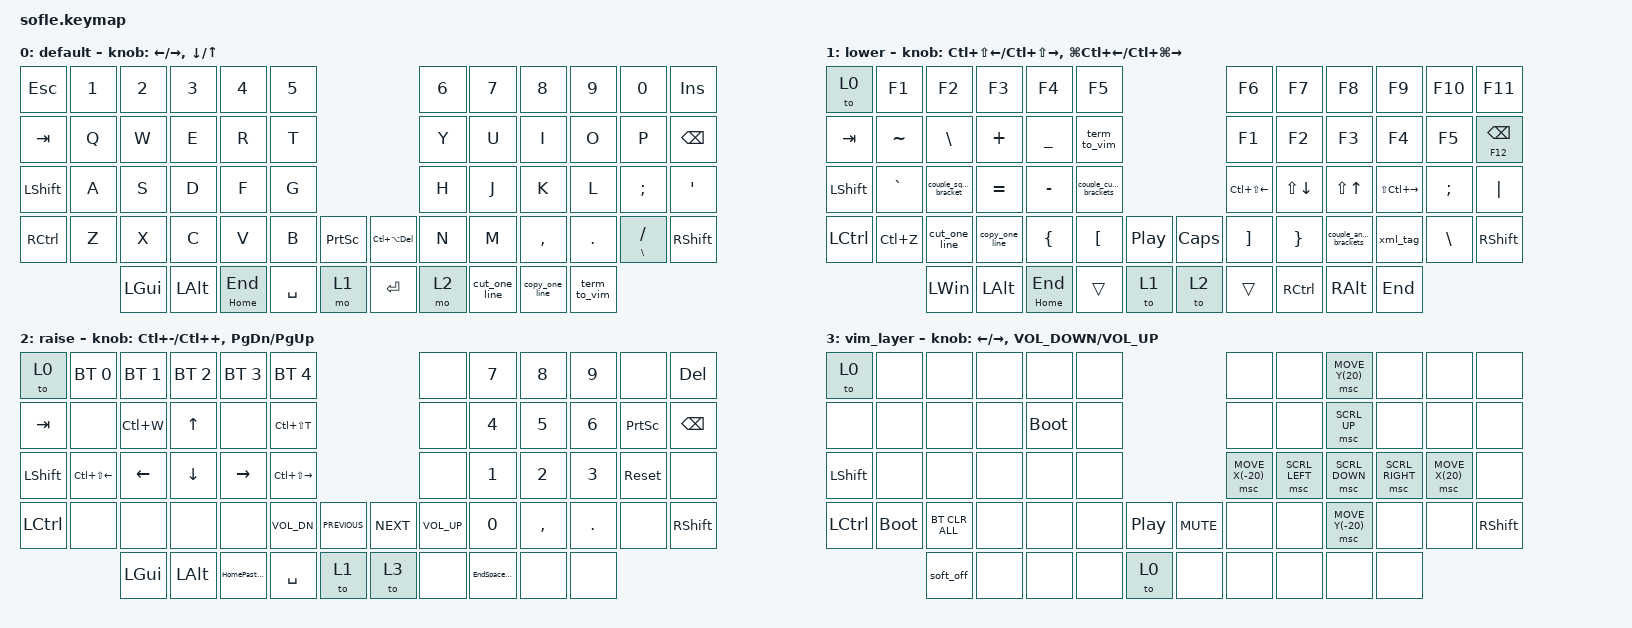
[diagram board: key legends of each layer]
/*
 * Copyright (c) 2020 The ZMK Contributors
 *
 * SPDX-License-Identifier: MIT
 */

#include <behaviors.dtsi>
#include <dt-bindings/zmk/bt.h>
#include <dt-bindings/zmk/keys.h>
#include <dt-bindings/zmk/pointing.h>

#define BASE 0
#define LOWER 1
#define RAISE 2
#define ADJUST 3

/ {
    // Activate ADJUST layer by pressing raise and lower

    conditional_layers { compatible = "zmk,conditional-layers"; };

    macros {
        copy_one_line: copy_one_line {
            compatible = "zmk,behavior-macro";
            #binding-cells = <0>;
            bindings = <&kp END &kp LS(HOME) &kp LC(C)>;
            label = "COPY_ONE_LINE";
        };

        term_to_vim: term_to_vim {
            compatible = "zmk,behavior-macro";
            #binding-cells = <0>;
            bindings = <&kp LC(BACKSLASH) &kp LC(N)>;
            label = "TERM_TO_VIM";
        };

        couple_square_bracket: couple_square_bracket {
            compatible = "zmk,behavior-macro";
            #binding-cells = <0>;
            bindings = <&kp LEFT_BRACKET &kp RIGHT_BRACKET &kp LEFT_ARROW>;
            label = "COUPLE_SQUARE_BRACKET";
        };

        couple_curly_brackets: couple_curly_brackets {
            compatible = "zmk,behavior-macro";
            #binding-cells = <0>;
            bindings = <&kp LEFT_BRACE &kp RIGHT_BRACE &kp LEFT_ARROW>;
            label = "COUPLE_CURLY_BRACKETS";
        };

        couple_parentheses: couple_parentheses {
            compatible = "zmk,behavior-macro";
            #binding-cells = <0>;
            bindings = <&kp LEFT_PARENTHESIS &kp RIGHT_PARENTHESIS &kp LEFT>;
            label = "COUPLE_PARENTHESES";
        };

        couple_angle_brackets: couple_angle_brackets {
            compatible = "zmk,behavior-macro";
            #binding-cells = <0>;
            bindings = <&macro_tap>, <&kp LESS_THAN &kp GREATER_THAN &kp LEFT>;

            label = "COUPLE_ANGLE_BRACKETS";
        };

        xml_tag: xml_tag {
            compatible = "zmk,behavior-macro";
            #binding-cells = <0>;
            bindings = <&kp LESS_THAN &kp GREATER_THAN &kp LESS_THAN &kp SLASH &kp GREATER_THAN &kp LEFT_ARROW &key_repeat &key_repeat>;
            label = "XML_TAG";
        };

        cut_one_line: cut_one_line {
            compatible = "zmk,behavior-macro";
            #binding-cells = <0>;
            bindings = <&kp END &kp LS(HOME) &kp LC(X)>;
            label = "CUT_ONE_LINE";
        };

        replace_one_line: replace_one_line {
            compatible = "zmk,behavior-macro";
            #binding-cells = <0>;
            bindings = <&kp END &kp LS(HOME) &kp LC(V)>;
            label = "REPLACE_ONE_LINE";
        };

        EndSpacePaste: InsSpacePasteEnd {
            compatible = "zmk,behavior-macro";
            #binding-cells = <0>;
            bindings = <&kp END &kp SPACE &kp LC(V)>;
            label = "INSSPACEPASTEEND";
        };

        HomePasteSpace: HomePasteSpace {
            compatible = "zmk,behavior-macro";
            #binding-cells = <0>;
            bindings = <&kp HOME &kp LC(V) &kp SPACE>;
            label = "HOMEPASTESPACE";
        };
    };

    combos {
        compatible = "zmk,combos";

        bootloader_mode {
            bindings = <&bootloader>;
            key-positions = <36 24 16>;
            timeout-ms = <2000>;
            layers = <0>;
        };
    };

    keymap {
        compatible = "zmk,keymap";

        default_layer {
            label = "default";

            // ------------------------------------------------------------------------------------------------------------
            // |   `   |  1  |  2  |  3   |  4   |  5   |                   |  6   |  7    |  8    |  9   |   0   |       |
            // |  ESC  |  Q  |  W  |  E   |  R   |  T   |                   |  Y   |  U    |  I    |  O   |   P   | BKSPC |
            // |  TAB  |  A  |  S  |  D   |  F   |  G   |                   |  H   |  J    |  K    |  L   |   ;   |   '   |
            // | SHIFT |  Z  |  X  |  C   |  V   |  B   |  MUTE  |  |       |  N   |  M    |  ,    |  .   |   /   | SHIFT |
            //               | GUI | ALT  | CTRL | LOWER|  ENTER |  | SPACE | RAISE| CTRL  | ALT   | GUI  |

            bindings = <
&kp ESCAPE         &kp N1  &kp N2    &kp N3    &kp N4        &kp N5                                            &kp N6  &kp N7         &kp N8          &kp N9        &kp N0               &kp INSERT
&kp TAB            &kp Q   &kp W     &kp E     &kp R         &kp T                                             &kp Y   &kp U          &kp I           &kp O         &kp P                &kp BSPC
&kp LEFT_SHIFT     &kp A   &kp S     &kp D     &kp F         &kp G                                             &kp H   &kp J          &kp K           &kp L         &kp SEMI             &kp SQT
&kp RIGHT_CONTROL  &kp Z   &kp X     &kp C     &kp V         &kp B      &kp PRINTSCREEN    &kp LC(LA(DELETE))  &kp N   &kp M          &kp COMMA       &kp DOT       &mt BACKSLASH SLASH  &kp RSHFT
                           &kp LGUI  &kp LALT  &mt HOME END  &kp SPACE  &mo 1              &kp ENTER           &mo 2   &cut_one_line  &copy_one_line  &term_to_vim
            >;

            sensor-bindings =
                <&inc_dec_kp LEFT RIGHT>,
                <&inc_dec_kp DOWN UP_ARROW>;
        };

        lower_layer {
            label = "lower";

            // TODO: Some binds are waiting for shifted keycode support.
            // ------------------------------------------------------------------------------------------------------------
            // |       |  F1 |  F2 |  F3  |  F4  |  F5  |                   |  F6  |  F7   |  F8   |  F9  |  F10  |  F11  |
            // |   `   |  1  |  2  |  3   |  4   |  5   |                   |  6   |  7    |  8    |  9   |   0   |  F12  |
            // |       |  !  |  @  |  #   |  $   |  %   |                   |  ^   |  &    |  *    |  (   |   )   |   |   |
            // |       |  =  |  -  |  +   |  {   |  }   |        |  |       |  [   |  ]    |  ;    |  :   |   \   |       |
            //               |     |      |      |      |        |  |       |      |       |       |      |

            bindings = <
&to 0      &kp F1     &kp F2                  &kp F3          &kp F4          &kp F5                                                &kp F6                  &kp F7              &kp F8                  &kp F9                   &kp F10   &kp F11
&kp TAB    &kp TILDE  &kp BACKSLASH           &kp PLUS        &kp UNDERSCORE  &term_to_vim                                          &kp F1                  &kp F2              &kp F3                  &kp F4                   &kp F5    &mt F12 BACKSPACE
&kp LSHFT  &kp GRAVE  &couple_square_bracket  &kp EQUAL       &kp MINUS       &couple_curly_brackets                                &kp LC(LS(LEFT_ARROW))  &kp LS(DOWN_ARROW)  &kp LS(UP_ARROW)        &kp LS(LC(RIGHT_ARROW))  &kp SEMI  &kp PIPE
&kp LCTRL  &kp LC(Z)  &cut_one_line           &copy_one_line  &kp LEFT_BRACE  &kp LEFT_BRACKET        &kp C_PLAY_PAUSE    &kp CAPS  &kp RIGHT_BRACKET       &kp RIGHT_BRACE     &couple_angle_brackets  &xml_tag                 &kp BSLH  &kp RIGHT_SHIFT
                      &kp LEFT_WIN            &kp LALT        &mt HOME END    &trans                  &to 1               &to 2     &trans                  &kp RCTRL           &kp RIGHT_ALT           &kp END
            >;

            sensor-bindings =
                <&inc_dec_kp LC(LS(LEFT)) LC(LS(RIGHT))>,
                <&inc_dec_kp LG(LC(LEFT)) LC(LG(RIGHT))>;
        };

        raise_layer {
            label = "raise";

            // ------------------------------------------------------------------------------------------------------------
            // | BTCLR | BT1  | BT2  |  BT3  |  BT4  |  BT5 |                |      |      |       |      |       |       |
            // |       | INS  | PSCR | GUI   |       |      |                | PGUP |      |   ^   |      |       |       |
            // |       | ALT  | CTRL | SHIFT |       | CAPS |                | PGDN |   <- |   v   |  ->  |  DEL  | BKSPC |
            // |       | UNDO | CUT  | COPY  | PASTE |      |      |  |      |      |      |       |      |       |       |
            //                |      |       |       |      |      |  |      |      |      |       |      |

            bindings = <
&to 0           &bt BT_SEL 0      &bt BT_SEL 1  &bt BT_SEL 2  &bt BT_SEL 3     &bt BT_SEL 4                                     &none            &kp N7          &kp N8     &kp N9   &none            &kp DEL
&kp TAB         &none             &kp LC(W)     &kp UP        &none            &kp LC(LS(T))                                    &none            &kp N4          &kp N5     &kp N6   &kp PRINTSCREEN  &kp BACKSPACE
&kp LEFT_SHIFT  &kp LC(LS(LEFT))  &kp LEFT      &kp DOWN      &kp RIGHT        &kp LC(LS(RIGHT))                                &none            &kp N1          &kp N2     &kp N3   &sys_reset       &none
&kp LCTRL       &none             &none         &none         &none            &kp C_VOL_DN       &kp C_PREVIOUS    &kp C_NEXT  &kp C_VOLUME_UP  &kp N0          &kp COMMA  &kp DOT  &none            &kp RSHIFT
                                  &kp LEFT_GUI  &kp LEFT_ALT  &HomePasteSpace  &kp SPACE          &to 1             &to 3       &none            &EndSpacePaste  &none      &none
            >;

            sensor-bindings =
                <&inc_dec_kp LC(MINUS) LC(PLUS)>,
                <&inc_dec_kp PAGE_DOWN PAGE_UP>;
        };

        vim_layer {
            // ----------------------------------------------------------------------------------------------------------------------------
            // | BTCLR  |  BT1    |  BT2    |   BT3   |   BT4   |   BT5   |                  |      |      |       |      |       |       |
            // | EXTPWR | RGB_HUD | RGB_HUI | RGB_SAD | RGB_SAI | RGB_EFF |                  |      |      |       |      |       |       |
            // |        | RGB_BRD | RGB_BRI |         |         |         |                  |      |      |       |      |       |       |
            // |        |         |         |         |         |         | RGB_TOG | |      |      |      |       |      |       |       |
            //                    |         |         |         |         |         | |      |      |      |       |      |

            label = "vim_layer";
            bindings = <
&to 0      &none        &none           &none  &none        &none                                  &none             &none           &msc MOVE_Y(20)   &none            &none            &none
&none      &none        &none           &none  &bootloader  &none                                  &none             &none           &msc SCRL_UP      &none            &none            &none
&kp LSHFT  &none        &none           &none  &none        &none                                  &msc MOVE_X(-20)  &msc SCRL_LEFT  &msc SCRL_DOWN    &msc SCRL_RIGHT  &msc MOVE_X(20)  &none
&kp LCTRL  &bootloader  &bt BT_CLR_ALL  &none  &none        &none  &kp C_PLAY_PAUSE    &kp K_MUTE  &none             &none           &msc MOVE_Y(-20)  &none            &none            &kp RSHFT
                        &soft_off       &none  &none        &none  &to 0               &none       &none             &none           &none             &none
            >;

            sensor-bindings =
                <&inc_dec_kp LEFT RIGHT_ARROW>,
                <&inc_dec_kp C_VOLUME_DOWN C_VOLUME_UP>;
        };
    };
};
